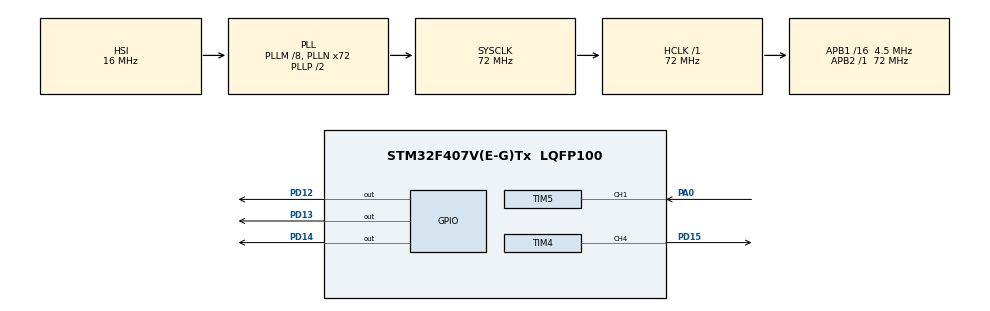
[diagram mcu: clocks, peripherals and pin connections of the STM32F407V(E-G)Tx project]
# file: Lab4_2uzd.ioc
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Mcu.Family=STM32F4
Mcu.Name=STM32F407V(E-G)Tx
Mcu.Package=LQFP100
NVIC.PriorityGroup=NVIC_PRIORITYGROUP_4
NVIC.TIM4_IRQn=true\:0\:0\:false\:false\:true\:true\:true\:true
NVIC.TIM5_IRQn=true\:0\:0\:false\:false\:true\:true\:true\:true
PA0-WKUP.Signal=S_TIM5_CH1
PD12.Signal=GPIO_Output
PD13.Signal=GPIO_Output
PD14.Signal=GPIO_Output
PD15.Signal=S_TIM4_CH4
ProjectManager.HeapSize=0x200
ProjectManager.StackSize=0x400
ProjectManager.TargetToolchain=STM32CubeIDE
RCC.48MHZClocksFreq_Value=36000000
RCC.AHBFreq_Value=72000000
RCC.APB1CLKDivider=RCC_HCLK_DIV16
RCC.APB1Freq_Value=4500000
RCC.APB1TimFreq_Value=9000000
RCC.APB2Freq_Value=72000000
RCC.APB2TimFreq_Value=72000000
RCC.CortexFreq_Value=72000000
RCC.HCLKFreq_Value=72000000
RCC.HSE_VALUE=25000000
RCC.HSI_VALUE=16000000
RCC.LSE_VALUE=32768
RCC.PLLM=8
RCC.PLLN=72
RCC.SYSCLKFreq_VALUE=72000000
RCC.SYSCLKSource=RCC_SYSCLKSOURCE_PLLCLK
RCC.VCOOutputFreq_Value=144000000
SH.S_TIM4_CH4.0=TIM4_CH4,PWM Generation4 CH4
SH.S_TIM5_CH1.0=TIM5_CH1,Input_Capture1_from_TI1
TIM4.Channel-PWM\ Generation4\ CH4=TIM_CHANNEL_4
TIM4.Period=6000-1
TIM4.Prescaler=9000-1
TIM4.Pulse-PWM\ Generation4\ CH4=3000-1
TIM5.Channel-Input_Capture1_from_TI1=TIM_CHANNEL_1
TIM5.ICFilter_CH1=15
TIM5.ICPolarity_CH1=TIM_INPUTCHANNELPOLARITY_FALLING
TIM5.Period=9000-1
TIM5.Prescaler=9000-1
VP_TIM5_VS_ClockSourceINT.Mode=Internal
board=custom

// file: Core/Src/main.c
/* USER CODE BEGIN Header */
/**
  ******************************************************************************
  * @file           : main.c
  * @brief          : Main program body
  ******************************************************************************
  * @attention
  *
  * Copyright (c) 2024 STMicroelectronics.
  * All rights reserved.
  *
  * This software is licensed under terms that can be found in the LICENSE file
  * in the root directory of this software component.
  * If no LICENSE file comes with this software, it is provided AS-IS.
  *
  ******************************************************************************
  */
/* USER CODE END Header */
#include "main.h"

TIM_HandleTypeDef htim4;
TIM_HandleTypeDef htim5;

/* USER CODE BEGIN PV */
int firstPress = 0;
/* USER CODE END PV */

void SystemClock_Config(void);
static void MX_GPIO_Init(void);
static void MX_TIM4_Init(void);
static void MX_TIM5_Init(void);

int main(void)
{

  /* MCU Configuration--------------------------------------------------------*/

  /* Reset of all peripherals, Initializes the Flash interface and the Systick. */
  HAL_Init();

  /* Configure the system clock */
  SystemClock_Config();

  /* Initialize all configured peripherals */
  MX_GPIO_Init();
  MX_TIM4_Init();
  MX_TIM5_Init();
  /* USER CODE BEGIN 2 */

  HAL_TIM_IC_Start_IT(&htim5, TIM_CHANNEL_1);
  HAL_TIM_PWM_Start(&htim4, TIM_CHANNEL_4);

  /* USER CODE END 2 */

  /* Infinite loop */
  while (1)
  {

  }
}

void SystemClock_Config(void)
{
  RCC_OscInitTypeDef RCC_OscInitStruct = {0};
  RCC_ClkInitTypeDef RCC_ClkInitStruct = {0};

  /** Configure the main internal regulator output voltage
  */
  __HAL_RCC_PWR_CLK_ENABLE();
  __HAL_PWR_VOLTAGESCALING_CONFIG(PWR_REGULATOR_VOLTAGE_SCALE1);

  /** Initializes the RCC Oscillators according to the specified parameters
  * in the RCC_OscInitTypeDef structure.
  */
  RCC_OscInitStruct.OscillatorType = RCC_OSCILLATORTYPE_HSI;
  RCC_OscInitStruct.HSIState = RCC_HSI_ON;
  RCC_OscInitStruct.HSICalibrationValue = RCC_HSICALIBRATION_DEFAULT;
  RCC_OscInitStruct.PLL.PLLState = RCC_PLL_ON;
  RCC_OscInitStruct.PLL.PLLSource = RCC_PLLSOURCE_HSI;
  RCC_OscInitStruct.PLL.PLLM = 8;
  RCC_OscInitStruct.PLL.PLLN = 72;
  RCC_OscInitStruct.PLL.PLLP = RCC_PLLP_DIV2;
  RCC_OscInitStruct.PLL.PLLQ = 4;
  if (HAL_RCC_OscConfig(&RCC_OscInitStruct) != HAL_OK)
  {
    Error_Handler();
  }

  /** Initializes the CPU, AHB and APB buses clocks
  */
  RCC_ClkInitStruct.ClockType = RCC_CLOCKTYPE_HCLK|RCC_CLOCKTYPE_SYSCLK
                              |RCC_CLOCKTYPE_PCLK1|RCC_CLOCKTYPE_PCLK2;
  RCC_ClkInitStruct.SYSCLKSource = RCC_SYSCLKSOURCE_PLLCLK;
  RCC_ClkInitStruct.AHBCLKDivider = RCC_SYSCLK_DIV1;
  RCC_ClkInitStruct.APB1CLKDivider = RCC_HCLK_DIV16;
  RCC_ClkInitStruct.APB2CLKDivider = RCC_HCLK_DIV1;

  if (HAL_RCC_ClockConfig(&RCC_ClkInitStruct, FLASH_LATENCY_2) != HAL_OK)
  {
    Error_Handler();
  }
}

static void MX_TIM4_Init(void)
{

  TIM_MasterConfigTypeDef sMasterConfig = {0};
  TIM_OC_InitTypeDef sConfigOC = {0};

  htim4.Instance = TIM4;
  htim4.Init.Prescaler = 9000-1;
  htim4.Init.CounterMode = TIM_COUNTERMODE_UP;
  htim4.Init.Period = 6000-1;
  htim4.Init.ClockDivision = TIM_CLOCKDIVISION_DIV1;
  htim4.Init.AutoReloadPreload = TIM_AUTORELOAD_PRELOAD_DISABLE;
  if (HAL_TIM_PWM_Init(&htim4) != HAL_OK)
  {
    Error_Handler();
  }
  sMasterConfig.MasterOutputTrigger = TIM_TRGO_RESET;
  sMasterConfig.MasterSlaveMode = TIM_MASTERSLAVEMODE_DISABLE;
  if (HAL_TIMEx_MasterConfigSynchronization(&htim4, &sMasterConfig) != HAL_OK)
  {
    Error_Handler();
  }
  sConfigOC.OCMode = TIM_OCMODE_PWM1;
  sConfigOC.Pulse = 3000-1;
  sConfigOC.OCPolarity = TIM_OCPOLARITY_HIGH;
  sConfigOC.OCFastMode = TIM_OCFAST_DISABLE;
  if (HAL_TIM_PWM_ConfigChannel(&htim4, &sConfigOC, TIM_CHANNEL_4) != HAL_OK)
  {
    Error_Handler();
  }
  HAL_TIM_MspPostInit(&htim4);

}

static void MX_TIM5_Init(void)
{

  TIM_ClockConfigTypeDef sClockSourceConfig = {0};
  TIM_MasterConfigTypeDef sMasterConfig = {0};
  TIM_IC_InitTypeDef sConfigIC = {0};

  htim5.Instance = TIM5;
  htim5.Init.Prescaler = 9000-1;
  htim5.Init.CounterMode = TIM_COUNTERMODE_UP;
  htim5.Init.Period = 9000-1;
  htim5.Init.ClockDivision = TIM_CLOCKDIVISION_DIV1;
  htim5.Init.AutoReloadPreload = TIM_AUTORELOAD_PRELOAD_DISABLE;
  if (HAL_TIM_Base_Init(&htim5) != HAL_OK)
  {
    Error_Handler();
  }
  sClockSourceConfig.ClockSource = TIM_CLOCKSOURCE_INTERNAL;
  if (HAL_TIM_ConfigClockSource(&htim5, &sClockSourceConfig) != HAL_OK)
  {
    Error_Handler();
  }
  if (HAL_TIM_IC_Init(&htim5) != HAL_OK)
  {
    Error_Handler();
  }
  sMasterConfig.MasterOutputTrigger = TIM_TRGO_RESET;
  sMasterConfig.MasterSlaveMode = TIM_MASTERSLAVEMODE_DISABLE;
  if (HAL_TIMEx_MasterConfigSynchronization(&htim5, &sMasterConfig) != HAL_OK)
  {
    Error_Handler();
  }
  sConfigIC.ICPolarity = TIM_INPUTCHANNELPOLARITY_FALLING;
  sConfigIC.ICSelection = TIM_ICSELECTION_DIRECTTI;
  sConfigIC.ICPrescaler = TIM_ICPSC_DIV1;
  sConfigIC.ICFilter = 15;
  if (HAL_TIM_IC_ConfigChannel(&htim5, &sConfigIC, TIM_CHANNEL_1) != HAL_OK)
  {
    Error_Handler();
  }

}

static void MX_GPIO_Init(void)
{
  GPIO_InitTypeDef GPIO_InitStruct = {0};

  /* GPIO Ports Clock Enable */
  __HAL_RCC_GPIOA_CLK_ENABLE();
  __HAL_RCC_GPIOD_CLK_ENABLE();

  /*Configure GPIO pin Output Level */
  HAL_GPIO_WritePin(GPIOD, GPIO_PIN_12|GPIO_PIN_13|GPIO_PIN_14, GPIO_PIN_RESET);

  /*Configure GPIO pins : PD12 PD13 PD14 */
  GPIO_InitStruct.Pin = GPIO_PIN_12|GPIO_PIN_13|GPIO_PIN_14;
  GPIO_InitStruct.Mode = GPIO_MODE_OUTPUT_PP;
  GPIO_InitStruct.Pull = GPIO_NOPULL;
  GPIO_InitStruct.Speed = GPIO_SPEED_FREQ_LOW;
  HAL_GPIO_Init(GPIOD, &GPIO_InitStruct);

}

/* USER CODE BEGIN 4 */
void HAL_TIM_IC_CaptureCallback(TIM_HandleTypeDef *htim) {

  if (htim->Channel == HAL_TIM_ACTIVE_CHANNEL_1) {
	  if(firstPress == 0){
		  __HAL_TIM_SetCounter(&htim5, 0);
		  firstPress = 1;
	  }
    uint32_t capture = __HAL_TIM_GET_COUNTER(&htim5);
    if(capture > 0 && capture <=3000){
    	HAL_GPIO_WritePin(GPIOD, GPIO_PIN_14, GPIO_PIN_SET);
    	HAL_GPIO_WritePin(GPIOD, GPIO_PIN_13, GPIO_PIN_RESET);
    	HAL_GPIO_WritePin(GPIOD, GPIO_PIN_12, GPIO_PIN_RESET);
    }else if(capture > 3000 && capture <= 6000){
    	HAL_GPIO_WritePin(GPIOD, GPIO_PIN_14, GPIO_PIN_SET);
    	HAL_GPIO_WritePin(GPIOD, GPIO_PIN_13, GPIO_PIN_SET);
    	HAL_GPIO_WritePin(GPIOD, GPIO_PIN_12, GPIO_PIN_RESET);
    }else if(capture > 6000 && capture <= 9000){
    	HAL_GPIO_WritePin(GPIOD, GPIO_PIN_14, GPIO_PIN_SET);
    	HAL_GPIO_WritePin(GPIOD, GPIO_PIN_13, GPIO_PIN_SET);
    	HAL_GPIO_WritePin(GPIOD, GPIO_PIN_12, GPIO_PIN_SET);
    }

  }
}
/* USER CODE END 4 */

void Error_Handler(void)
{
  __disable_irq();
  while (1)
  {
  }
}
